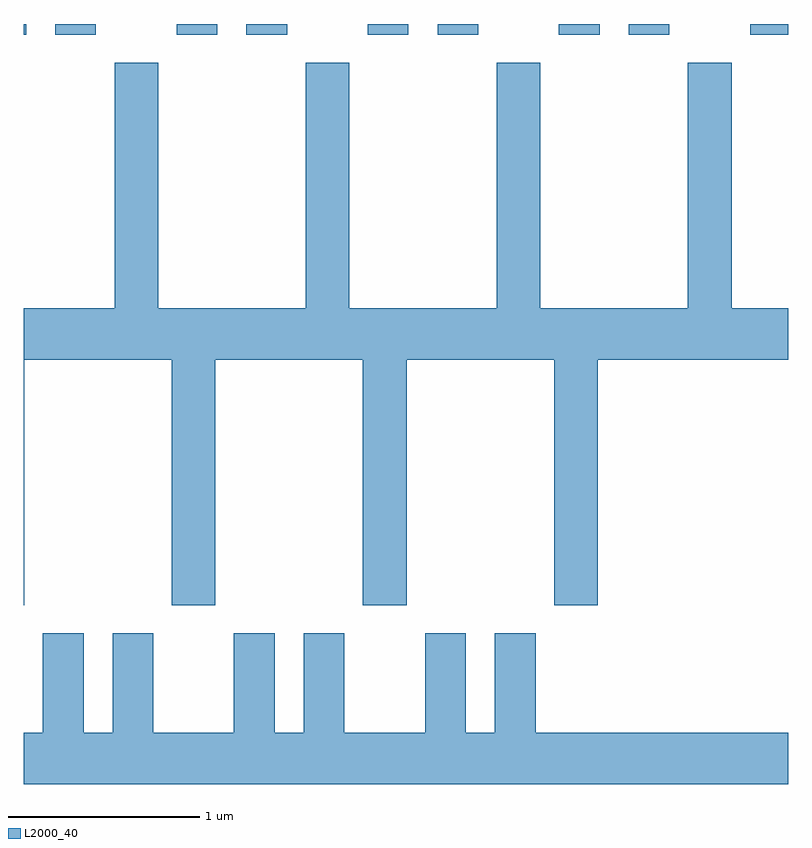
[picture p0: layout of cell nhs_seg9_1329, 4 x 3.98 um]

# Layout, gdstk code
import gdstk
lib = gdstk.Library(unit=1e-6, precision=1e-09)
def R(c, l, rs):  # rectangles x0, y0, x1, y1
    for r in rs: c.add(gdstk.rectangle(r[:2], r[2:], *l))
def P(c, l, *ps):  # polygons
    for p in ps: c.add(gdstk.Polygon(p, *l))
L2000_40 = (2000, 40)

nhs_seg9_1329 = lib.new_cell('nhs_seg9_1329')
R(nhs_seg9_1329, L2000_40, [(223.611,2022.376,223.624,2022.432), (223.776,2022.376,223.989,2022.432), (224.411,2022.376,224.624,2022.432), (224.776,2022.376,224.989,2022.432), (225.411,2022.376,225.624,2022.432), (225.776,2022.376,225.989,2022.432), (226.411,2022.376,226.624,2022.432), (226.776,2022.376,226.989,2022.432), (227.411,2022.376,227.611,2022.432)])
P(nhs_seg9_1329, L2000_40, [(223.614,2020.676),(224.386,2020.676),(224.386,2019.391),(224.614,2019.391),(224.614,2020.676),(225.386,2020.676),(225.386,2019.391),(225.614,2019.391),(225.614,2020.676),(226.386,2020.676),(226.386,2019.391),(226.614,2019.391),(226.614,2020.676),(227.611,2020.676),(227.611,2020.944),(227.314,2020.944),(227.314,2022.229),(227.086,2022.229),(227.086,2020.944),(226.314,2020.944),(226.314,2022.229),(226.086,2022.229),(226.086,2020.944),(225.314,2020.944),(225.314,2022.229),(225.086,2022.229),(225.086,2020.944),(224.314,2020.944),(224.314,2022.229),(224.086,2022.229),(224.086,2020.944),(223.611,2020.944),(223.611,2019.391),(223.614,2019.391)],
  [(227.611,2018.724),(226.289,2018.724),(226.289,2019.244),(226.076,2019.244),(226.076,2018.724),(225.924,2018.724),(225.924,2019.244),(225.711,2019.244),(225.711,2018.724),(225.289,2018.724),(225.289,2019.244),(225.076,2019.244),(225.076,2018.724),(224.924,2018.724),(224.924,2019.244),(224.711,2019.244),(224.711,2018.724),(224.289,2018.724),(224.289,2019.244),(224.076,2019.244),(224.076,2018.724),(223.924,2018.724),(223.924,2019.244),(223.711,2019.244),(223.711,2018.724),(223.611,2018.724),(223.611,2018.456),(227.611,2018.456)])

lib.write_gds('nhs_seg9_1329.gds')
